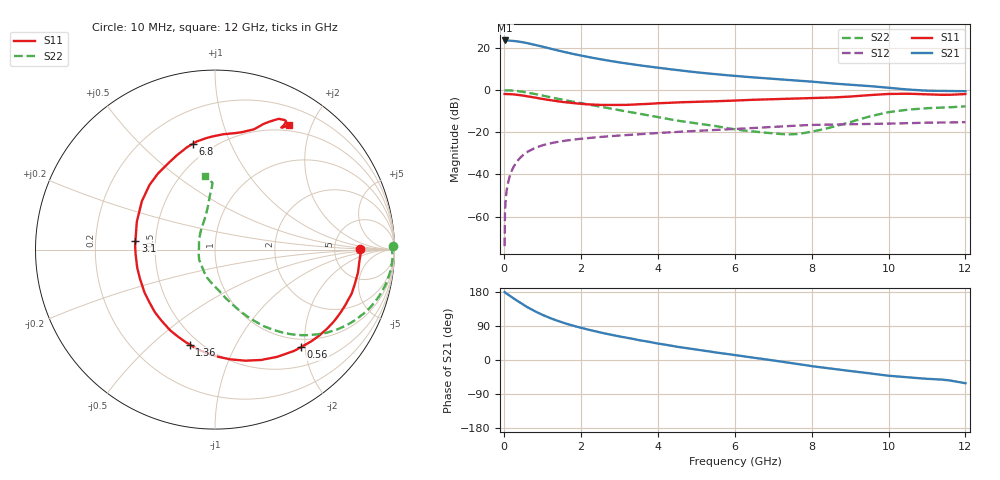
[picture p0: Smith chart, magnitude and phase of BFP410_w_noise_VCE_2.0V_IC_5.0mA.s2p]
! Infineon Technologies  Discrete & RF Semiconductors
! BFP410
! VCE =  2.0 V,  IC =  5.0 mA
! Common Emitter S-Parameters:  Nov 2015
# GHz  S  MA  R  50
!  f  S11  S21  S12  S22
! GHz  MAG  ANG  MAG  ANG  MAG  ANG  MAG  ANG
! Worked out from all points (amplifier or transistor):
!   243 points, 10 MHz to 12 GHz, reference 50 ohm
!   highest |S21| = 23.5 dB at 20 MHz (marker M1)
!   |S21| within 3 dB of that: start of sweep to 1.008 GHz
!   unconditionally stable (mu >= 1): start of sweep to 10.13 MHz; 3.075 GHz to end of sweep
!   at 240 MHz: K = 0.09, MSG = 29.9 dB, |S12| = -36.5 dB
!   at 1.84 GHz: K = 0.63, MSG = 20.2 dB, |S12| = -23.4 dB
!   at 12 GHz: K = 1.07, MAG = 5.7 dB, |S12| = -15.2 dB
!   lowest NFmin = 1.00 dB at 900 MHz
!   S11 on the Smith chart (normalised r, x): 10 MHz: 9.50, +0.23; 560 MHz: 0.84, -1.92; 1.36 GHz: 0.44, -0.67; 3.1 GHz: 0.38, +0.05; 6.8 GHz: 0.40, +0.73; 12 GHz: 0.42, +1.68
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0.01  0.8097 0.3  14.99 179.4  0.0002 99.8  0.9898 1.3
0.02  0.8116 -1.4  15.05 178.4  0.0013 91.6  0.9863 -0.3
0.05  0.8072 -4.2  14.95 175.8  0.0034 87.7  0.9907 -2.0
0.115  0.8052 -10.3  14.93 171.7  0.0073 84.4  0.9871 -5.3
0.3  0.7827 -26.6  14.46 158.8  0.0185 76.8  0.9594 -14.0
0.4  0.7639 -35.3  14.05 152.1  0.0241 72.7  0.9355 -18.4
0.56  0.7245 -48.6  13.2 142.1  0.0322 66.6  0.8883 -24.9
0.7  0.6906 -59.9  12.44 134.0  0.0385 62.0  0.8434 -30.2
0.9  0.6417 -74.7  11.28 123.6  0.0461 56.1  0.7761 -36.6
1.1  0.5969 -88.6  10.16 114.6  0.0522 51.3  0.7101 -42.1
1.36  0.5474 -105.0  8.878 104.4  0.0587 46.2  0.6337 -48.0
1.68  0.5043 -123.0  7.603 93.8  0.0649 41.5  0.5554 -53.8
2.02  0.4712 -140.0  6.529 84.5  0.0707 37.6  0.4878 -58.7
2.6  0.445 -167.0  5.203 70.4  0.0789 32.3  0.3879 -66.2
3.1  0.446 173.7  4.401 60.4  0.0851 28.9  0.3217 -72.2
4.1  0.4919 144.2  3.31 41.9  0.0975 23.0  0.2209 -86.4
5  0.5297 126.9  2.649 27.3  0.1081 17.7  0.1632 -105.4
6.1  0.571 110.6  2.136 11.6  0.1212 11.6  0.1142 -132.2
6.8  0.6025 101.8  1.907 1.7  0.1315 7.3  0.0978 -156.6
8.2  0.6515 82.7  1.531 -18.8  0.1507 -4.9  0.1126 139.2
10.2  0.8152 62.8  1.093 -43.2  0.162 -18.6  0.3176 94.5
12  0.8072 59.2  0.943 -61.2  0.1745 -32.7  0.4128 97.6
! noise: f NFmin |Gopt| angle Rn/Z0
0.45  1.02  0.27  4  0.25
0.9  1  0.24  16  0.19
1.8  1.16  0.15  54  0.17
2.4  1.16  0.15  52  0.2
5.5  2.1  0.32  -125  0.21
10  3.4  0.67  -52  1.79
